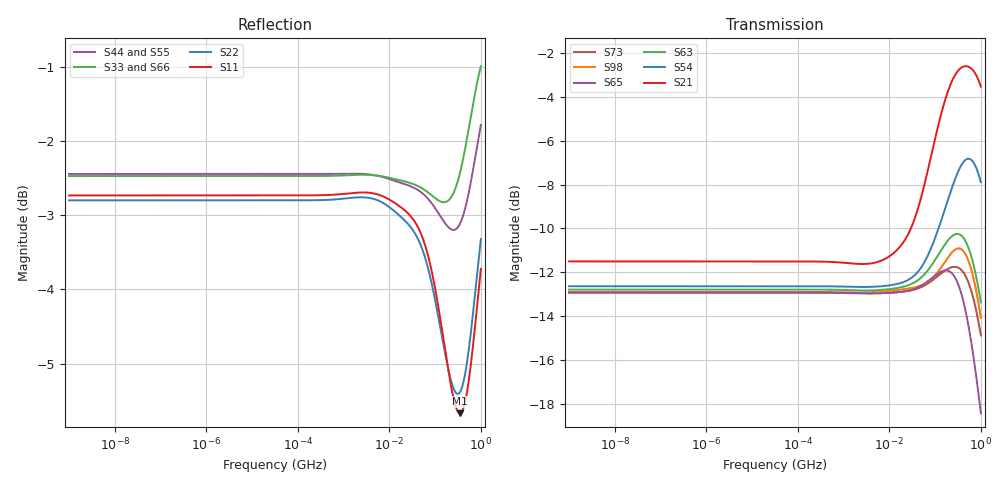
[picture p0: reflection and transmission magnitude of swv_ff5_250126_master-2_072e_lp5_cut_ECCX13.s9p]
! Touchstone file exported from Ansys Full-Wave Spice
! Project: 0000_PSI_S-parameter_Sweep
!  Design: unknown
! Creation time: Fri Apr 18 11:30:09 2025
! Notes: ! Touchstone(R) file created by SIwave 2025 R1
!  : ! Touchstone(R) file created on Fri Apr 18 11:30:09 2025
# HZ S RI R 0.1
! Modal data exported
! Port[1] = PORT_1_DIE1_VDDCR_ECCX13_Group_DIE1_GRP_1_0_VSS
! Port[2] = PORT_2_BGA1_VDDCR_ECCX13_Group_BGA1_GRP_1_1_VSS
! Port[3] = VDDCR_ECCX13_C18_2
! Port[4] = VDDCR_ECCX13_C19_2
! Port[5] = VDDCR_ECCX13_C21_2
! Port[6] = VDDCR_ECCX13_C22_2
! Port[7] = VDDCR_ECCX13_C100_2
! Port[8] = VDDCR_ECCX13_C101_2
! Port[9] = VDDCR_ECCX13_C104_2
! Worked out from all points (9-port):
!   420 points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, 1 Hz to 1 GHz, reference 0.1 ohm
!   strongest paths, dB at 1 Hz, 3.687 kHz, 11.66 MHz, 482.9 MHz, 1 GHz:
!     S21: -11.5, -11.5, -11.2, -2.6, -3.5
!     S54: -12.6, -12.6, -12.6, -6.8, -7.9
!     S63: -12.8, -12.8, -12.8, -10.7, -13.4
!     S65: -12.9, -12.9, -12.9, -14.0, -18.4
!     S98: -12.9, -12.9, -12.8, -11.3, -14.1
!     S73: -12.9, -12.9, -12.9, -12.3, -14.9
!   lowest |S11| = -5.7 dB at 348.6 MHz (marker M1), VSWR 3.17, Z = 0.0434 + j0.0571 ohm
!   |S11| at or under -10 dB: nowhere
